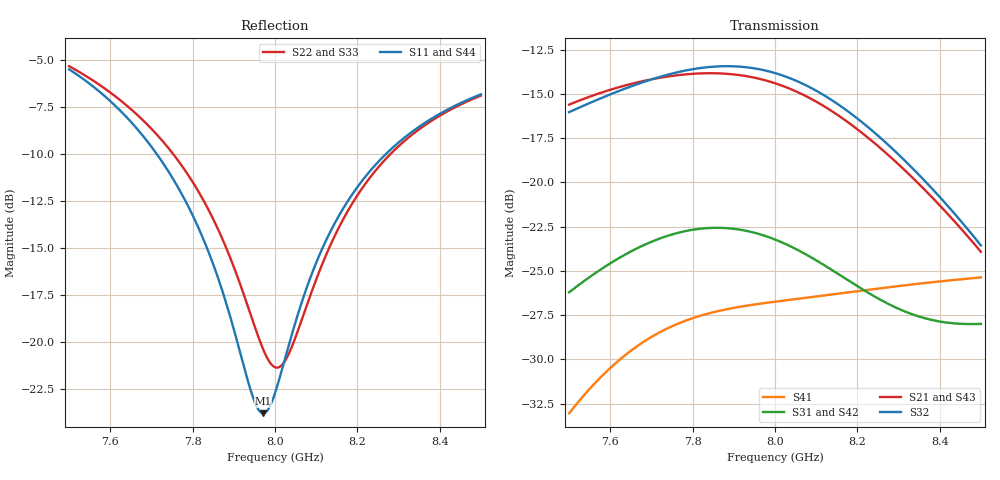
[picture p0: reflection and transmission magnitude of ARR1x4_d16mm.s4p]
! Touchstone file exported from HFSS 2025.1.0
!  File:  C:/Users/user/Documents/Ansoft/TFG_UWB-MIMO-Array.aedt
!  Generated:  05:34:57 PM Nov 20, 2026
!  Design:  ARR1x4_P01_MS2_dparam
!  Project:  TFG_UWB-MIMO-Array
!  Setup:  Setup_ch9
!  Solution:  Sweep_7p5_8p5
! Variables:
!  arr_d = 16mm
!  board_m = 13mm
!  board_x = 74mm
!  board_y = 26mm
!  cu_t = 0.035mm
!  line_w = 3.92mm
!  pad_xy = 22mm
!  pad_zn = 25mm
!  pad_zp = 33mm
!  patch_L = 7.322mm
!  patch_W = 11.421266mm
!  sub_h = 2.07mm
!  tr_l = 7.1mm
!  tr_w = 0.8mm
# GHz S MA R 50.000000
! Terminal data exported
! Port[1] = P1
! Port[2] = P2
! Port[3] = P3
! Port[4] = P4
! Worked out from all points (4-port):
!   1001 points, 7.5 GHz to 8.5 GHz, reference 50 ohm
!   strongest paths, dB at 7.5 GHz, 7.75 GHz, 8 GHz, 8.25 GHz, 8.5 GHz:
!     S32: -16.0, -13.8, -13.8, -17.4, -23.6
!     S21: -15.6, -14.0, -14.4, -17.9, -23.9
!     S43: -15.6, -14.0, -14.4, -18.0, -24.1
!     S31: -26.2, -22.9, -23.2, -26.6, -28.0
!     S42: -26.2, -23.0, -23.2, -26.6, -28.0
!     S41: -33.1, -28.1, -26.7, -26.0, -25.4
!   lowest |S11| = -23.8 dB at 7.971 GHz (marker M1), VSWR 1.14, Z = 56.2 + j2.92 ohm
!   |S11| at or under -10 dB: 7.712 GHz to 8.27 GHz (557.8 MHz wide, 6.98 % of centre)
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7.5  0.5296 160.3  0.1659 -21.7  0.04893 -148.7  0.02226 55.2
     0.1659 -21.7  0.54 164.2  0.158 -18.4  0.04889 -148.6
     0.04893 -148.7  0.158 -18.4  0.5388 164.0  0.1658 -21.7
     0.02226 55.2  0.04889 -148.6  0.1658 -21.7  0.5312 160.6
7.77  0.2511 122.3  0.2014 -72.4  0.0723 139.1  0.04013 -40.8
      0.2014 -72.4  0.2977 128.6  0.2057 -67.1  0.07219 139.2
      0.0723 139.1  0.2057 -67.1  0.2958 128.3  0.2007 -72.4
      0.04013 -40.8  0.07219 139.2  0.2007 -72.4  0.2541 122.7
7.971  0.06468 23.6  0.1951 -115.3  0.07092 71.7  0.04555 -127.1
       0.1951 -115.3  0.09581 55.8  0.2079 -111.7  0.0708 71.9
       0.07092 71.7  0.2079 -111.7  0.09471 54.6  0.1942 -115.3
       0.04555 -127.1  0.0708 71.9  0.1942 -115.3  0.06505 27.1
8.025  0.09087 -28.3  0.1862 -127.3  0.06704 52.0  0.04641 -151.0
       0.1862 -127.3  0.08936 4.3  0.1993 -124.2  0.06692 52.2
       0.06704 52.0  0.1993 -124.2  0.08972 2.9  0.1852 -127.2
       0.04641 -151.0  0.06692 52.2  0.1852 -127.2  0.08846 -26.2
8.101  0.1633 -60.0  0.1689 -143.8  0.06015 23.4  0.04761 176.3
       0.1689 -143.8  0.1475 -44.3  0.1814 -141.6  0.06002 23.6
       0.06015 23.4  0.1814 -141.6  0.1488 -45.0  0.1679 -143.8
       0.04761 176.3  0.06002 23.6  0.1679 -143.8  0.1599 -59.1
8.188  0.247 -79.0  0.1448 -161.9  0.05196 -10.2  0.04906 141.2
       0.1448 -161.9  0.2337 -70.4  0.1554 -160.4  0.05183 -10.0
       0.05196 -10.2  0.1554 -160.4  0.235 -70.8  0.1437 -161.8
       0.04906 141.2  0.05183 -10.0  0.1437 -161.8  0.2435 -78.4
8.5  0.4546 -118.7  0.06367 144.0  0.03983 -123.4  0.0539 44.7
     0.06367 144.0  0.4511 -116.6  0.06638 144.9  0.03973 -123.5
     0.03983 -123.4  0.06638 144.9  0.4517 -116.8  0.06261 144.1
     0.0539 44.7  0.03973 -123.5  0.06261 144.1  0.452 -118.3
